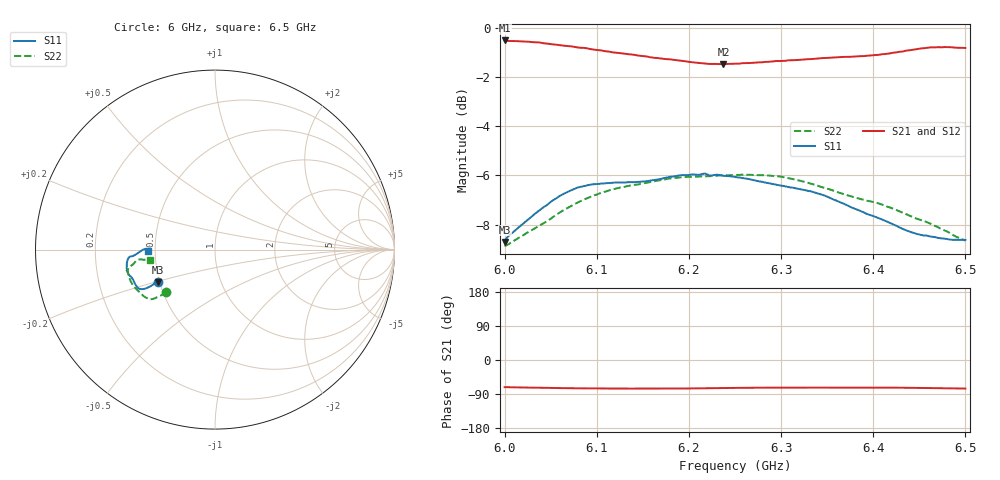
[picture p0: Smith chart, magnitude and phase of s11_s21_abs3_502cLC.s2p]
! MS46122B
! 1919307/90821646
! 7/29/2022 2:07:27 PM
! C:\USERS\PC_\DESKTOP\MEDICIONES\BANCHA ESTRECHA\6_65_GHZ\S11_S21_ABS3_502CL.S2P
! CHANNEL.1
! TR.MEASUREMENT
! CORRECTED.DATA
# GHZ S RI R 50.0
! FREQ.GHZ  S11RE  S11IM  S21RE  S21IM  S12RE  S12IM  S22RE  S22IM
!; PortSelection: Port_12
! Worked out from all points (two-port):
!   201 points, 6 GHz to 6.5 GHz, reference 50 ohm
!   highest |S21| = -0.52 dB at 6 GHz (marker M1); lowest = -1.5 dB at 6.237 GHz (marker M2)
!   |S21| within 3 dB of the highest: start of sweep to end of sweep
!   lowest |S11| = -8.7 dB at 6 GHz (marker M3), VSWR 2.16, Z = 24.4 - j10.2 ohm
!   |S11| at or under -10 dB: nowhere
!   |S22| runs from -8.9 to -6.0 dB; largest |S21 - S12| = 0.02
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6  -0.3196 -0.1813  0.2977 -0.8942  0.3035 -0.8884  -0.2719 -0.2362
6.0025  -0.3277 -0.1816  0.2938 -0.8934  0.3027 -0.8873  -0.2731 -0.2374
6.035  -0.367 -0.2081  0.2709 -0.8939  0.2743 -0.8928  -0.3003 -0.2546
6.0525  -0.3898 -0.2178  0.2581 -0.8884  0.2597 -0.8858  -0.3179 -0.2632
6.085  -0.4242 -0.217  0.2384 -0.8786  0.2394 -0.8694  -0.3513 -0.2758
6.0975  -0.4332 -0.2096  0.2329 -0.8719  0.235 -0.8627  -0.3643 -0.276
6.115  -0.4441 -0.1934  0.2269 -0.8638  0.2313 -0.8529  -0.3843 -0.2679
6.1675  -0.469 -0.1504  0.2199 -0.8388  0.2245 -0.827  -0.4372 -0.221
6.1925  -0.4832 -0.1355  0.2188 -0.8286  0.226 -0.8161  -0.4535 -0.2041
6.2175  -0.4923 -0.116  0.2232 -0.8163  0.2337 -0.8042  -0.461 -0.1914
6.2225  -0.4887 -0.1106  0.2247 -0.8139  0.236 -0.8031  -0.4623 -0.1892
6.2375  -0.4913 -0.0957  0.233 -0.8108  0.2435 -0.8015  -0.4686 -0.1796
6.25  -0.4913 -0.0801  0.2385 -0.8104  0.2492 -0.8016  -0.474 -0.1668
6.27  -0.4871 -0.0574  0.2441 -0.8131  0.257 -0.8046  -0.4819 -0.1434
6.2875  -0.481 -0.0453  0.2486 -0.8162  0.2596 -0.8076  -0.4852 -0.1249
6.3075  -0.4736 -0.039  0.2532 -0.8207  0.2633 -0.8104  -0.4837 -0.1064
6.335  -0.4624 -0.0374  0.2548 -0.8259  0.2713 -0.8165  -0.472 -0.0926
6.39  -0.4214 -0.013  0.2549 -0.838  0.2733 -0.8378  -0.4425 -0.0659
6.4175  -0.4021 -0.000792  0.2601 -0.8478  0.2712 -0.8472  -0.4283 -0.0564
6.4375  -0.3867 0.00359  0.2591 -0.8611  0.2709 -0.8595  -0.4134 -0.054
6.4625  -0.3765 0.000564  0.2498 -0.8777  0.2604 -0.8758  -0.3957 -0.0566
6.5  -0.3706 -0.00973  0.2301 -0.8804  0.2392 -0.8798  -0.3647 -0.0606
